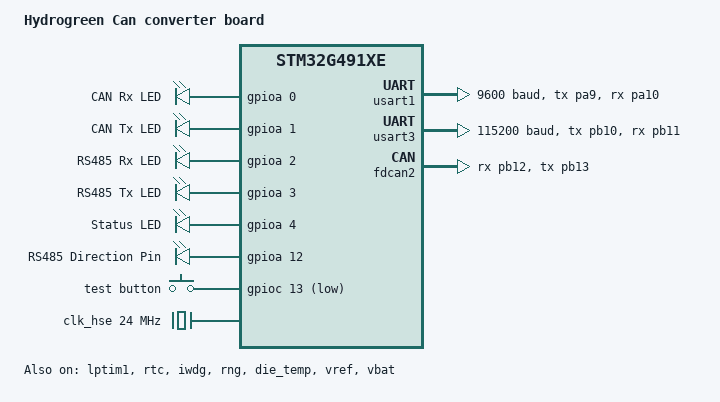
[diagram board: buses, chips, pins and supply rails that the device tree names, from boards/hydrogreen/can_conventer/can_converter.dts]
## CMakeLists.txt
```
cmake_minimum_required(VERSION 3.13.1)
if(NOT DEFINED BOARD)
    set(BOARD can_converter CACHE STRING "Zephyr target board")
    message(STATUS "BOARD not defined externally, using default: ${BOARD}")
endif()

if(NOT DEFINED BOARD_ROOT)
    set(BOARD_ROOT ${CMAKE_CURRENT_SOURCE_DIR}/ CACHE PATH "Root directory for custom boards")
    message(STATUS "BOARD_ROOT not defined externally, using default: ${BOARD_ROOT}")
endif()

find_package(Zephyr REQUIRED HINTS $ENV{ZEPHYR_BASE})
project(app LANGUAGES C)

list(APPEND CMAKE_MODULE_PATH ${ZEPHYR_BASE}/modules/nanopb)
include(nanopb)
zephyr_nanopb_sources(app proto/master.proto)

target_include_directories(app PRIVATE
        peripherals
        can-definitions
        src
)

if(CONFIG_BOOTLOADER_MCUBOOT)
    set(SIGNED_BIN  ${CMAKE_BINARY_DIR}/zephyr/zephyr.signed.bin)
    set(ELF_FILE    ${CMAKE_BINARY_DIR}/zephyr/zephyr.elf)
    set(HEADER_BIN  ${CMAKE_BINARY_DIR}/zephyr/mcuboot_header.bin)

    add_custom_target(patch_elf_mcuboot_header ALL
        COMMAND ${PYTHON_EXECUTABLE} -c
            "h=open('${SIGNED_BIN}','rb').read(${CONFIG_ROM_START_OFFSET}); open('${HEADER_BIN}','wb').write(h)"
        COMMAND ${PYTHON_EXECUTABLE}
            ${CMAKE_CURRENT_SOURCE_DIR}/tools/patch_elf_mcuboot_header.py
            ${ELF_FILE} ${HEADER_BIN} ${CONFIG_ROM_START_OFFSET}
        COMMENT "Patching MCUboot image header into zephyr.elf for GDB"
        VERBATIM
    )
    add_dependencies(patch_elf_mcuboot_header zephyr_final)
endif()

target_sources(app PRIVATE
        src/main.c
        src/can_converter.c
        src/can_converter_can.c
        src/can_converter_frames.c
        src/can_converter_rs485.c
        src/can_converter_dfu.c
        peripherals/cobs.c
        peripherals/can.c
        peripherals/can_dfu.c
        peripherals/gpio.c
        peripherals/adc.c
        peripherals/pwm.c
        peripherals/counter.c
        peripherals/uart.c
        peripherals/rs485.c
        peripherals/status_led.c
        peripherals/test_button.c
        can-definitions/candef.c
)
```

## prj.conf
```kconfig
# Project specific config
CONFIG_GPIO=y
CONFIG_LED=y

CONFIG_CAN=y
CONFIG_CAN_FD_MODE=n
CONFIG_CAN_MANUAL_RECOVERY_MODE=y

CONFIG_UART_STM32=y
CONFIG_UART_ASYNC_API=y
CONFIG_UART_INTERRUPT_DRIVEN=y
CONFIG_DMA=y

CONFIG_NANOPB=y

# System settings
CONFIG_HEAP_MEM_POOL_SIZE=2048
CONFIG_MAIN_STACK_SIZE=2048

# MCUboot + DFU over CAN
CONFIG_BOOTLOADER_MCUBOOT=y
CONFIG_MCUBOOT_IMG_MANAGER=y
CONFIG_MCUBOOT_GENERATE_UNSIGNED_IMAGE=y
CONFIG_FLASH=y
CONFIG_FLASH_MAP=y
CONFIG_FLASH_PAGE_LAYOUT=y
CONFIG_STREAM_FLASH=y
CONFIG_STREAM_FLASH_ERASE=n
CONFIG_STREAM_FLASH_INSPECT=n
CONFIG_IMG_MANAGER=y
CONFIG_REBOOT=y
CONFIG_CRC=y

# Debugging, tracing and logging settings
CONFIG_SERIAL=y
CONFIG_LOG=y
CONFIG_LOG_MODE_IMMEDIATE=y
CONFIG_LOG_DEFAULT_LEVEL=3
CONFIG_LOG_BACKEND_RTT=y
CONFIG_USE_SEGGER_RTT=y
CONFIG_SEGGER_RTT_BUFFER_SIZE_UP=16384
CONFIG_LOG_BACKEND_RTT_MODE_DROP=y

# CONFIG_TRACING=y
# CONFIG_TRACING_BACKEND_RAM=y
# CONFIG_TRACING_GPIO=n
# CONFIG_TRACING_SYSCALL=y
CONFIG_SEGGER_SYSTEMVIEW=n
CONFIG_SEGGER_SYSTEMVIEW_BOOT_ENABLE=n
CONFIG_SEGGER_SYSVIEW_POST_MORTEM_MODE=n

CONFIG_DEBUG=y
CONFIG_DEBUG_OPTIMIZATIONS=y
CONFIG_THREAD_ANALYZER=y
CONFIG_THREAD_NAME=y
```

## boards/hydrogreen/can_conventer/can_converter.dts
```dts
/dts-v1/;
#include <st/g4/stm32g491Xe.dtsi>
#include <st/g4/stm32g491c(c-e)tx-pinctrl.dtsi>

#include <zephyr/dt-bindings/led/led.h>

/ {
	model = "Hydrogreen Can converter board";
	compatible = "hydrogreen,can-converter";


	aliases {
		can-rx-led = &can_rx_led;
		can-tx-led = &can_tx_led;
		rs485-rx-led = &rs485_rx_led;
		rs485-tx-led =&rs485_tx_led;
		status-led = &status_led;
		can = &fdcan2;
		rs485 = &usart1;
		rs485-dir = &rs485_dir_pin;
		button-test = &button_test;
		watchdog0 = &iwdg;
		die-temp0 = &die_temp;
		volt-sensor0 = &vref;
		volt-sensor1 = &vbat;
	};

	chosen {
		zephyr,console = &usart3;
		zephyr,shell-uart = &usart3;
		zephyr,sram = &sram0;
		zephyr,flash = &flash0;
		zephyr,canbus = &fdcan2;
		zephyr,code-partition = &slot0_partition;
	};

	leds {
		compatible = "gpio-leds";
		can_rx_led: led_pa0 {
			gpios = <&gpioa 0 GPIO_ACTIVE_HIGH>;
			label = "CAN Rx LED";
		};
		can_tx_led: led_pa1 {
			gpios = <&gpioa 1 GPIO_ACTIVE_HIGH>;
			label = "CAN Tx LED";
		};
		rs485_rx_led: led_pa2 {
			gpios = <&gpioa 2 GPIO_ACTIVE_HIGH>;
			label = "RS485 Rx LED";
		};
		rs485_tx_led: led_pa3 {
			gpios = <&gpioa 3 GPIO_ACTIVE_HIGH>;
			label = "RS485 Tx LED";
		};
		status_led: led_pa4 {
			gpios = <&gpioa 4 GPIO_ACTIVE_HIGH>;
			label = "Status LED";
		};
			rs485_dir_pin: dir_pin_pa12 {
			gpios = <&gpioa 12 GPIO_ACTIVE_HIGH>;
			label = "RS485 Direction Pin";
		};
	};

	buttons {
		compatible = "gpio-keys";
		debounce-interval-ms = <0>;
		button_test: button_pc13 {
			gpios = <&gpioc 13 (GPIO_ACTIVE_LOW | GPIO_PULL_UP)>;
			label = "test button";
		};
	};
};

&gpioa {
	status = "okay";
};

&gpiob {
	status = "okay";
};


&clk_lsi {
	status = "okay";
};

&clk_hsi48 {
	status = "okay";
};

&clk_hse {
	clock-frequency = <DT_FREQ_M(24)>;
	status = "okay";
};

&clk_hsi {
	status = "okay";
};

&pll {
	div-m = <6>;
	mul-n = <85>;
	div-p = <7>;
	div-q = <2>;
	div-r = <2>;
	clocks = <&clk_hse>;
	status = "okay";
};

&rcc {
	clocks = <&pll>;
	clock-frequency = <DT_FREQ_M(170)>;
	ahb-prescaler = <1>;
	apb1-prescaler = <1>;
	apb2-prescaler = <1>;
};


&usart1 {
	pinctrl-0 = <&usart1_tx_pa9 &usart1_rx_pa10>;
	pinctrl-names = "default";
	current-speed = <9600>;
	status = "okay";
};


&usart3 {
	pinctrl-0 = <&usart3_tx_pb10 &usart3_rx_pb11>;
	pinctrl-names = "default";
	current-speed = <115200>;
	status = "okay";
};



//&timers2 {
//	status = "okay";
//
//	pwm2: pwm {
//		status = "okay";
//		pinctrl-0 = <&tim2_ch1_pa5>;
//		pinctrl-names = "default";
//	};
//};
//
//&timers3 {
//	st,prescaler = <10000>;
//	status = "okay";
//	pwm3: pwm {
//		status = "okay";
//		pinctrl-0 = <&tim3_ch1_pb4>;
//		pinctrl-names = "default";
//	};
//};

stm32_lp_tick_source: &lptim1 {
	clocks = <&rcc STM32_CLOCK_BUS_APB1 0x80000000>,
			 <&rcc STM32_SRC_LSI LPTIM1_SEL(1)>;
	status = "okay";
};

&rtc {
	clocks = <&rcc STM32_CLOCK_BUS_APB1 0x00000400>,
			 <&rcc STM32_SRC_LSI RTC_SEL(2)>;
	status = "okay";
};

&flash0 {
	partitions {
		compatible = "fixed-partitions";
		#address-cells = <1>;
		#size-cells = <1>;

		boot_partition: partition@0 {
			label = "mcuboot";
			reg = <0x00000000 DT_SIZE_K(34)>;
		};
		slot0_partition: partition@8800 {
			label = "image-0";
			reg = <0x00008800 DT_SIZE_K(240)>;
		};
		slot1_partition: partition@44800 {
			label = "image-1";
			reg = <0x00044800 DT_SIZE_K(234)>;
		};
		/* Set 4Kb of storage at the end of the 512Kb of flash */
		storage_partition: partition@7f000 {
			label = "storage";
			reg = <0x0007f000 DT_SIZE_K(4)>;
		};
	};
};

&iwdg {
	status = "okay";
};

&rng {
	status = "okay";
};


&die_temp {
	status = "okay";
};

//&fdcan1 {
//	clocks = <&rcc STM32_CLOCK_BUS_APB1 0x02000000>,
//			 <&rcc STM32_SRC_HSE FDCAN_SEL(0)>;
//	pinctrl-0 = <&fdcan1_rx_pa11 &fdcan1_tx_pa12>;
//	pinctrl-names = "default";
//	status = "okay";
//};

&fdcan2 {
	pinctrl-0 = <&fdcan2_rx_pb12 &fdcan2_tx_pb13>;
	pinctrl-names = "default";
	status = "okay";
};

&vref {
	status = "okay";
};

&vbat {
	status = "okay";
};
```

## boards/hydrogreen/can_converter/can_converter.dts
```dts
/dts-v1/;
#include <st/g4/stm32g491Xe.dtsi>
#include <st/g4/stm32g491c(c-e)tx-pinctrl.dtsi>
#include <zephyr/dt-bindings/led/led.h>

// reference manual stm32g491cet6
// https://www.st.com/resource/en/reference_manual/dm00355726-stm32g4-series-advanced-armbased-32bit-mcus-stmicroelectronics.pdf

/ {
	model = "Hydrogreen CAN converter board";
	compatible = "hydrogreen,can-converter";


	aliases {
		can-rx-led = &can_rx_led;
		can-tx-led = &can_tx_led;
		rs485-rx-led = &rs485_rx_led;
		rs485-tx-led =&rs485_tx_led;
		status-led = &status_led;
		can = &fdcan2;
		rs485 = &usart1;
		rs485-dir = &rs485_dir_pin;
		button-test = &button_test;
		watchdog0 = &iwdg;
		die-temp0 = &die_temp;
		volt-sensor0 = &vref;
		volt-sensor1 = &vbat;
	};

	chosen {
		zephyr,sram = &sram0;
		zephyr,flash = &flash0;
		zephyr,canbus = &fdcan2;
		zephyr,code-partition = &slot0_partition;
	};

	leds {
		compatible = "gpio-leds";
		can_rx_led: led_pa0 {
			gpios = <&gpioa 0 GPIO_ACTIVE_HIGH>;
			label = "CAN Rx LED";
		};
		can_tx_led: led_pa1 {
			gpios = <&gpioa 1 GPIO_ACTIVE_HIGH>;
			label = "CAN Tx LED";
		};
		rs485_rx_led: led_pa2 {
			gpios = <&gpioa 2 GPIO_ACTIVE_HIGH>;
			label = "RS485 Rx LED";
		};
		rs485_tx_led: led_pa3 {
			gpios = <&gpioa 3 GPIO_ACTIVE_HIGH>;
			label = "RS485 Tx LED";
		};
		status_led: led_pa4 {
			gpios = <&gpioa 4 GPIO_ACTIVE_HIGH>;
			label = "Status LED";
		};
	};

	gpio_outputs {
		compatible = "gpio-leds";
		rs485_dir_pin: dir_pin_pa12 {
			gpios = <&gpioa 12 GPIO_ACTIVE_HIGH>;
			label = "RS485 Direction Pin";
		};
	};

	buttons {
		compatible = "gpio-keys";
		debounce-interval-ms = <0>;
		button_test: button_pc13 {
			gpios = <&gpioc 13 (GPIO_ACTIVE_LOW | GPIO_PULL_UP)>;
			label = "test button";
		};
	};
};

&gpioa {
	status = "okay";
};

&gpiob {
	status = "okay";
};


&clk_lsi {
	status = "okay";
};

&clk_hsi48 {
	status = "okay";
};

//&clk_hse {
//	clock-frequency = <DT_FREQ_M(24)>;
//	status = "okay";
//};

&clk_hsi {
//	clock-frequency = <DT_FREQ_M(16)>;
	status = "okay";
};

&pll {
	div-m = <1>;
	mul-n = <10>;
	div-p = <2>;
	div-q = <2>;
	div-r = <2>;
	clocks = <&clk_hsi>;
	status = "okay";
};

&rcc {
	clocks = <&pll>;
	clock-frequency = <DT_FREQ_M(80)>;
	ahb-prescaler = <1>;
	apb1-prescaler = <1>;
	apb2-prescaler = <1>;
};

// reference manual page 420 (dmamux)
&usart1 {
	pinctrl-0 = <&usart1_tx_pa9 &usart1_rx_pa10>;
	pinctrl-names = "default";
	current-speed = <921600>;
	status = "okay";
	dmas = <&dmamux1 2 25 STM32_DMA_PERIPH_TX>,
		   <&dmamux1 1 24 STM32_DMA_PERIPH_RX>;
	dma-names = "tx", "rx";
};

&dma1 {
	status = "okay";
};

&dmamux1 {
	status = "okay";
};



//&timers2 {
//	status = "okay";
//
//	pwm2: pwm {
//		status = "okay";
//		pinctrl-0 = <&tim2_ch1_pa5>;
//		pinctrl-names = "default";
//	};
//};
//
//&timers3 {
//	st,prescaler = <10000>;
//	status = "okay";
//	pwm3: pwm {
//		status = "okay";
//		pinctrl-0 = <&tim3_ch1_pb4>;
//		pinctrl-names = "default";
//	};
//};

stm32_lp_tick_source: &lptim1 {
	clocks = <&rcc STM32_CLOCK_BUS_APB1 0x80000000>,
			 <&rcc STM32_SRC_LSI LPTIM1_SEL(1)>;
	status = "okay";
};

&rtc {
	clocks = <&rcc STM32_CLOCK_BUS_APB1 0x00000400>,
			 <&rcc STM32_SRC_LSI RTC_SEL(2)>;
	status = "okay";
};

&flash0 {
	erase-block-size = <2048>;
	partitions {
		compatible = "fixed-partitions";
		#address-cells = <1>;
		#size-cells = <1>;

		boot_partition: partition@0 {
			label = "mcuboot";
			reg = <0x00000000 DT_SIZE_K(40)>;
		};
		slot0_partition: partition@a000 {
			label = "image-0";
			reg = <0x0000a000 DT_SIZE_K(234)>;
		};
		slot1_partition: partition@44800 {
			label = "image-1";
			reg = <0x00044800 DT_SIZE_K(234)>;
		};
		/* Set 4Kb of storage at the end of the 512Kb of flash */
		storage_partition: partition@7f000 {
			label = "storage";
			reg = <0x0007f000 DT_SIZE_K(4)>;
		};
	};
};

&iwdg {
	status = "okay";
};

&rng {
	status = "okay";
};


&die_temp {
	status = "okay";
};

//&fdcan1 {
//	clocks = <&rcc STM32_CLOCK_BUS_APB1 0x02000000>,
//			 <&rcc STM32_SRC_HSE FDCAN_SEL(0)>;
//	pinctrl-0 = <&fdcan1_rx_pa11 &fdcan1_tx_pa12>;
//	pinctrl-names = "default";
//	status = "okay";
//};

&fdcan2 {
	clocks = <&rcc STM32_CLOCK_BUS_APB1 0x02000000>,
			 <&rcc STM32_SRC_PLL_Q FDCAN_SEL(1)>;
	pinctrl-0 = <&fdcan2_rx_pb12 &fdcan2_tx_pb13>;
	pinctrl-names = "default";
	status = "okay";
};

&vref {
	status = "okay";
};

&vbat {
	status = "okay";
};
```

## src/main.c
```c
#include <zephyr/logging/log.h>
#include <zephyr/dfu/mcuboot.h>
#include "can_converter.h"
#include "can_converter_can.h"
#include "can_converter_rs485.h"
#include "status_led.h"

LOG_MODULE_REGISTER(main);

int main(void) {
    LOG_INF("CAN Converter Unit has started");

    ccu_can_init();
    ccu_rs485_init();
    ccu_board_init();

    /* Confirm the running image is healthy so MCUboot doesn't roll back
     * on the next reboot. No-op if not in swap-test mode. */
    boot_write_img_confirmed();

    status_led_set(STATUS_LED_OPERATIONAL);

    return 0;
}
```

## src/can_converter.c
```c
#include "can_converter.h"
#include "can_converter_can.h"
#include "can_converter_rs485.h"
#include "status_led.h"
#include "test_button.h"

#include <zephyr/drivers/gpio.h>
#include <zephyr/logging/log.h>

LOG_MODULE_REGISTER(ccu_board, LOG_LEVEL_INF);

K_MUTEX_DEFINE(data_mutex);
master_data_t data = {0};

/* ── Test button callback ─────────────────────────────────────────────────── */
static void on_test_button(void) {
    LOG_INF("Test button pressed — lighting all LEDs, sending all frames");
    status_led_set_override(true);
    ccu_can_test_set(true);
    ccu_rs485_test_set(true);
    ccu_can_test_send_all();
    k_sleep(K_SECONDS(2));
    ccu_can_test_set(false);
    ccu_rs485_test_set(false);
    status_led_set_override(false);
    LOG_INF("Test button: done");
}

/* ── Board init ───────────────────────────────────────────────────────────── */
void ccu_board_init(void) {
    static const struct gpio_dt_spec status_led_gpio =
        GPIO_DT_SPEC_GET(DT_ALIAS(status_led), gpios);
    static const struct gpio_dt_spec test_btn_gpio =
        GPIO_DT_SPEC_GET(DT_ALIAS(button_test), gpios);

    status_led_init(&status_led_gpio, NULL);
    test_button_init(&test_btn_gpio, on_test_button);
}
```

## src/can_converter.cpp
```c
//
// Created by inż. Dawid Pisarczyk on 28.12.2025.
//

#include "can_converter.hpp"

K_MUTEX_DEFINE(data_mutex);
master_data_t data = {};
```

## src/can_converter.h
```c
/**
 * @file can_converter.h
 * @brief Shared data store for the CAN↔RS485 converter.
 *
 * Holds the latest values decoded from the RS485 master stream.  All fields
 * are protected by @ref data_mutex; always lock before reading or writing.
 */

#pragma once

#ifdef __cplusplus
extern "C" {
#endif

#include <stdbool.h>

#include <zephyr/kernel.h>

#include "proto/master.pb.h"

/**
 * @brief Snapshot of the most recently received master data.
 *
 * Each payload type has a companion @c _valid flag that starts @c false and
 * is set to @c true the first time that payload is successfully decoded.
 */
typedef struct {
    MasterMeasurements master_measurements;
    bool               master_measurements_valid;

    MasterStatus master_status;
    bool         master_status_valid;

    ProtiumValues protium_values;
    bool          protium_values_valid;

    ProtiumOperatingState protium_operating_state;
    bool                  protium_operating_state_valid;

    MasterFaults master_faults;
    bool         master_faults_valid;
} master_data_t;

/** Global data store — lock @ref data_mutex before accessing. */
extern master_data_t data;

/** Mutex protecting @ref data. */
extern struct k_mutex data_mutex;

/* Board-specific initialisation: status LED, test button, CAN status broadcast.
 * Called from main() after all subsystems are up. */
void ccu_board_init(void);

#ifdef __cplusplus
}
#endif
```

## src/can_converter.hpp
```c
//
// Created by inż.Dawid Pisarczyk on 28.12.2025.
//

#ifndef CAN_CONVERTER_H
#define CAN_CONVERTER_H

#include <stdint.h>
#include <stdio.h>
#include <zephyr/device.h>
#include <zephyr/kernel.h>
#include "hmi_parser_zephyr.hpp"

typedef struct {
    MasterMeasurements master_measurements;
    bool master_measurements_valid;

    MasterStatus master_status;
    bool master_status_valid;

    ProtiumValues protium_values;
    bool protium_values_valid;

    ProtiumOperatingState protium_operating_state;
    bool protium_operating_state_valid;
} master_data_t;

extern master_data_t data;
extern struct k_mutex data_mutex;


#endif // CAN_CONVERTER_H
```

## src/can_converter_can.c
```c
#include "can_converter_can.h"
#include "can_converter_frames.h"
#include "can_converter_rs485.h"
#include "can_converter_dfu.h"
#include "status_led.h"
#include "candef.h"
#include "can_ids.h"

#include <zephyr/logging/log.h>

#include "can.h"
#include "gpio.h"

LOG_MODULE_REGISTER(ccu, LOG_LEVEL_INF);

#define CCU_CAN_TX_THREAD_STACK_SIZE       2048
#define CCU_CAN_TX_THREAD_PRIORITY         5
#define CCU_CAN_PERIODIC_THREAD_STACK_SIZE 2048
#define CCU_CAN_PERIODIC_THREAD_PRIORITY   5

K_THREAD_STACK_DEFINE(ccu_can_tx_thread_stack_area, CCU_CAN_TX_THREAD_STACK_SIZE);
K_THREAD_STACK_DEFINE(ccu_can_periodic_thread_stack_area, CCU_CAN_PERIODIC_THREAD_STACK_SIZE);

struct k_thread ccu_can_tx_thread_data;
struct k_thread ccu_can_periodic_thread_data;

K_SEM_DEFINE(can_tx_done_sem, 0, 1);
K_MSGQ_DEFINE(can_tx_msgq, sizeof(struct can_frame), 32, 4);

static volatile int      can_tx_result;
static volatile bool     test_active;
static volatile uint32_t can_frames_tx_ok;
static struct k_work_delayable tx_led_off_work;
static struct k_work_delayable rx_led_off_work;
static struct k_work_delayable bus_off_recovery_work;

struct can_filter ccu_can_filter = {
    .id = CANDEF_MCU_TIME_SYNC_FRAME_ID,
    .mask = 0x7C0,
    .flags = CAN_FRAME_IDE,
};

ccu_can_t can = {
    .device = DEVICE_DT_GET(DT_ALIAS(can)),
    .tx_led = GPIO_DT_SPEC_GET(DT_ALIAS(can_tx_led), gpios),
    .rx_led = GPIO_DT_SPEC_GET(DT_ALIAS(can_rx_led), gpios),
};

static void ccu_can_tx_callback(const struct device *dev, int error, void *user_data);

static void tx_led_off_handler(struct k_work *work) { if (!test_active) gpio_reset(&can.tx_led); }
static void rx_led_off_handler(struct k_work *work) { if (!test_active) gpio_reset(&can.rx_led); }

static void bus_off_recovery_handler(struct k_work *work) {
    int ret = can_recover(can.device, K_MSEC(100));
    if (ret != 0 && ret != -ENOTSUP) {
        LOG_WRN("CAN recovery failed (%d), retrying in 1s", ret);
        k_work_reschedule(&bus_off_recovery_work, K_SECONDS(1));
    } else {
        LOG_INF("CAN bus recovered");
        status_led_set(STATUS_LED_OPERATIONAL);
    }
}

static void can_state_change_cb(const struct device *dev,
                                enum can_state state,
                                struct can_bus_err_cnt err_cnt,
                                void *user_data) {
    ARG_UNUSED(dev);
    ARG_UNUSED(user_data);

    LOG_WRN("CAN state: %d (tx_err=%d rx_err=%d)",
            state, err_cnt.tx_err_cnt, err_cnt.rx_err_cnt);

    switch (state) {
    case CAN_STATE_ERROR_ACTIVE:
        status_led_set(STATUS_LED_OPERATIONAL);
        break;
    case CAN_STATE_ERROR_WARNING:
    case CAN_STATE_ERROR_PASSIVE:
        status_led_set(STATUS_LED_WARNING);
        break;
    case CAN_STATE_BUS_OFF:
        status_led_set(STATUS_LED_BUS_OFF);
        k_msgq_purge(&can_tx_msgq);
        k_work_reschedule(&bus_off_recovery_work, K_MSEC(100));
        break;
    default:
        break;
    }
}

static void ccu_can_tx_thread(void *p1, void *p2, void *p3) {
    struct can_frame frame = {0};
    LOG_INF("CAN TX thread started");

    while (1) {
        k_msgq_get(&can_tx_msgq, &frame, K_FOREVER);

        int ret = can_send(can.device, &frame, K_MSEC(100), ccu_can_tx_callback, NULL);
        if (ret) {
            LOG_ERR("CAN send failed: %d", ret);
            continue;
        }

        if (k_sem_take(&can_tx_done_sem, K_MSEC(200)) != 0) {
            LOG_ERR("CAN TX timeout");
            continue;
        }

        if (can_tx_result != 0) {
            LOG_ERR("CAN TX error: %d", can_tx_result);
            continue;
        }

        can_frames_tx_ok++;
        gpio_set(&can.tx_led);
        k_work_reschedule(&tx_led_off_work, K_MSEC(50));
    }
}

static void ccu_can_periodic_thread(void *p1, void *p2, void *p3) {
    uint8_t cnt_100ms    = 0;
    uint8_t cnt_1000ms   = 0;
    uint8_t cnt_1s       = 0;
    uint8_t cnt_unassign = 0;  /* 0.1 Hz: send MCU_ANALOG_UNASSIGNED every 10 s */

    uint32_t           prev_rs485_rx  = 0;
    uint32_t           prev_can_tx_ok = 0;
    ccu_frame_counts_t prev_frames    = {0};

    while (1) {
        k_sleep(K_MSEC(10));

        /* Suspend all periodic TX during DFU — reduces bus contention so the
         * device only participates as a receiver + ACK node. */
        if (can_dfu_is_active()) {
            cnt_100ms  = 0;
            cnt_1000ms = 0;
            continue;
        }

        master_data_t d = {0};
        k_mutex_lock(&data_mutex, K_FOREVER);
        d = data;
        k_mutex_unlock(&data_mutex);

        /* 10 ms — 100 Hz: state machine + faults (high-priority, safety-relevant) */
        if (d.master_status_valid) {
            send_mcu_state(&d.master_status);
        }

        if (d.master_faults_valid) {
            send_mcu_faults(&d.master_faults);
        }

        cnt_100ms++;
        cnt_1000ms++;

        /* 100 ms — 10 Hz: speed + powertrain analog */
        if (cnt_100ms >= 10) {
            cnt_100ms = 0;

            if (d.master_measurements_valid) {
                send_mcu_analog_speed(&d.master_measurements);
                send_mcu_analog_powertrain(&d.master_measurements);
                send_mcu_analog_fuel_cell(&d.master_measurements);
                send_mcu_analog_accessory(&d.master_measurements);
            }
        }

        /* 1000 ms — 1 Hz: slow analog + digital inputs + Protium */
        if (cnt_1000ms >= 100) {
            cnt_1000ms = 0;

            if (d.master_measurements_valid) {
                send_mcu_analog_pedals(&d.master_measurements);
                send_mcu_inputs(&d.master_measurements);
            }

            if (d.protium_operating_state_valid) {
                send_protium_state(d.protium_operating_state);
            }

            if (d.protium_values_valid) {
                send_protium_power(&d.protium_values);
                send_protium_thermal(&d.protium_values);
                send_protium_hydrogen(&d.protium_values);
                send_protium_setpoints(&d.protium_values);
                send_protium_stasis(&d.protium_values);
                send_protium_misc(&d.protium_values);
            }
        }

        /* 1 s — diagnostic stats report */
        cnt_1s++;
        if (cnt_1s >= 100) {
            cnt_1s = 0;

            /* 0.1 Hz — unassigned analog inputs (every 10th 1 s tick) */
            cnt_unassign++;
            if (cnt_unassign >= 10) {
                cnt_unassign = 0;
                if (d.master_measurements_valid) {
                    send_mcu_analog_unassigned(&d.master_measurements);
                }
            }

            uint32_t cur_rs485  = rs485_frames_received;
            uint32_t cur_can_ok = can_frames_tx_ok;

            uint32_t d_rs485  = cur_rs485  - prev_rs485_rx;
            uint32_t d_can_ok = cur_can_ok - prev_can_tx_ok;

/* Frames enqueued in the last 1 s window == Hz directly. */
#define HZ(field) (frame_counts.field - prev_frames.field)

            LOG_INF("=== 1s stats: RS485 RX %u Hz | CAN TX ok %u ===",
                    d_rs485, d_can_ok);

            if (d.master_status_valid) {
                LOG_INF("  MCU state=%d move=%c mc=%c valve=%c",
                        (int)d.master_status.state,
                        d.master_status.vehicle_allowed_to_move  ? 'Y' : 'N',
                        d.master_status.motor_controller_enabled ? 'Y' : 'N',
                        d.master_status.main_valve_enabled       ? 'Y' : 'N');
            }

            if (d.master_faults_valid) {
                LOG_INF("  EMG: switch=%c dms=%c leak=%c"
                        " | ERR: fc_v=%c fc_c=%c sc_v=%c sc_c=%c"
                        " mc_v=%c mc_c=%c ab_v=%c ab_c=%c",
                        d.master_faults.emg_emergency_switch          ? 'Y' : 'N',
                        d.master_faults.emg_dead_mans_switch          ? 'Y' : 'N',
                        d.master_faults.emg_leakage_sensor_switch     ? 'Y' : 'N',
                        d.master_faults.err_fuel_cell_output_voltage  ? 'Y' : 'N',
                        d.master_faults.err_fuel_cell_output_current  ? 'Y' : 'N',
                        d.master_faults.err_supercapacitor_voltage    ? 'Y' : 'N',
                        d.master_faults.err_supercapacitor_current    ? 'Y' : 'N',
                        d.master_faults.err_motor_controller_supply_voltage  ? 'Y' : 'N',
                        d.master_faults.err_motor_controller_supply_current  ? 'Y' : 'N',
                        d.master_faults.err_accessory_battery_voltage ? 'Y' : 'N',
                        d.master_faults.err_accessory_battery_current ? 'Y' : 'N');
            }

            LOG_INF("  MCU Hz:"
                    " STATE=%u FAULTS=%u DRIVE=%u"
                    " PT=%u FC=%u ACC=%u PEDALS=%u INPUTS=%u",
                    HZ(mcu_state), HZ(mcu_faults), HZ(mcu_analog_speed),
                    HZ(mcu_analog_powertrain), HZ(mcu_analog_fuel_cell),
                    HZ(mcu_analog_accessory),
                    HZ(mcu_analog_pedals), HZ(mcu_inputs));
            LOG_INF("  PROT Hz:"
                    " STATE=%u POWER=%u THERMAL=%u"
                    " HYDROGEN=%u SETPOINTS=%u STASIS=%u MISC=%u",
                    HZ(protium_state), HZ(protium_power), HZ(protium_thermal),
                    HZ(protium_hydrogen), HZ(protium_setpoints),
                    HZ(protium_stasis), HZ(protium_misc));

#undef HZ

            prev_rs485_rx  = cur_rs485;
            prev_can_tx_ok = cur_can_ok;
            prev_frames    = frame_counts;
        }
    }
}

static void ccu_can_tx_callback(const struct device *dev, int error, void *user_data) {
    can_tx_result = error;
    k_sem_give(&can_tx_done_sem);
}

static void ccu_dfu_rx_cb(const struct device *dev, struct can_frame *frame, void *user_data) {
    ARG_UNUSED(dev);
    ARG_UNUSED(user_data);

    /* Log CMD frames (REQUEST/COMMIT) at INF — always visible.
     * Log DATA frames at DBG — enable ccu_can DBG level to see them.
     * Logging every DATA frame at INF would generate ~500 log/s during DFU
     * and overwhelm the RTT buffer even in DROP mode. */
    if (frame->id == CCU_DFU_CMD_ID) {
        LOG_INF("CAN RX CMD id=0x%03X dlc=%u data=%02X %02X %02X %02X %02X",
                frame->id, frame->dlc,
                frame->dlc > 0 ? frame->data[0] : 0,
                frame->dlc > 1 ? frame->data[1] : 0,
                frame->dlc > 2 ? frame->data[2] : 0,
                frame->dlc > 3 ? frame->data[3] : 0,
                frame->dlc > 4 ? frame->data[4] : 0);
    } else {
        LOG_DBG("CAN RX DATA id=0x%03X dlc=%u seq=%u",
                frame->id, frame->dlc,
                frame->dlc >= 2 ? (uint16_t)(frame->data[0] | (frame->data[1] << 8)) : 0);
    }

    /* Flash CAN RX LED */
    gpio_set(&can.rx_led);
    k_work_reschedule(&rx_led_off_work, K_MSEC(50));

    can_dfu_on_frame(frame);
}

/* Single filter matches both 0x7E0 (CMD) and 0x7E1 (DATA) — both land on FIFO0 */
static const struct can_filter dfu_filter = {
    .id    = CCU_DFU_CMD_ID,
    .mask  = 0x1FFFFFFEU,
    .flags = CAN_FRAME_IDE,
};

void ccu_can_test_set(bool active) {
    test_active = active;
    if (active) {
        gpio_set(&can.rx_led);
        gpio_set(&can.tx_led);
    } else {
        gpio_reset(&can.rx_led);
        gpio_reset(&can.tx_led);
    }
}

void ccu_can_test_send_all(void) {
    master_data_t d = {0};
    k_mutex_lock(&data_mutex, K_FOREVER);
    d = data;
    k_mutex_unlock(&data_mutex);

    send_mcu_analog_speed(&d.master_measurements);
    send_mcu_analog_pedals(&d.master_measurements);
    send_mcu_analog_powertrain(&d.master_measurements);
    send_mcu_analog_fuel_cell(&d.master_measurements);
    send_mcu_analog_accessory(&d.master_measurements);
    send_mcu_analog_unassigned(&d.master_measurements);
    send_mcu_inputs(&d.master_measurements);
    send_mcu_state(&d.master_status);
    send_mcu_faults(&d.master_faults);
    if (d.protium_operating_state_valid) {
        send_protium_state(d.protium_operating_state);
    }

    LOG_INF("CAN test: all frames enqueued");
}

void ccu_can_init(void) {
    can_init(can.device, HYDROGREEN_CAN_BAUD_RATE);
    gpio_init(&can.rx_led, GPIO_OUTPUT_INACTIVE);
    gpio_init(&can.tx_led, GPIO_OUTPUT_INACTIVE);
    k_work_init_delayable(&tx_led_off_work, tx_led_off_handler);
    k_work_init_delayable(&rx_led_off_work, rx_led_off_handler);
    k_work_init_delayable(&bus_off_recovery_work, bus_off_recovery_handler);
    can_set_state_change_callback(can.device, can_state_change_cb, NULL);

    can_add_rx_filter_(can.device, ccu_dfu_rx_cb, &dfu_filter);
    ccu_dfu_init();

    k_tid_t tx_tid = k_thread_create(
        &ccu_can_tx_thread_data, ccu_can_tx_thread_stack_area,
        K_THREAD_STACK_SIZEOF(ccu_can_tx_thread_stack_area),
        ccu_can_tx_thread, NULL, NULL, NULL,
        CCU_CAN_TX_THREAD_PRIORITY, 0, K_NO_WAIT);
    k_thread_name_set(tx_tid, "can_tx");

    k_tid_t periodic_tid = k_thread_create(
        &ccu_can_periodic_thread_data, ccu_can_periodic_thread_stack_area,
        K_THREAD_STACK_SIZEOF(ccu_can_periodic_thread_stack_area),
        ccu_can_periodic_thread, NULL, NULL, NULL,
        CCU_CAN_PERIODIC_THREAD_PRIORITY, 0, K_NO_WAIT);
    k_thread_name_set(periodic_tid, "can_periodic");
}
```

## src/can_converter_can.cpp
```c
#include "can_converter_can.hpp"
#include "can_converter_can_send.hpp"
#include "candef.h"

LOG_MODULE_REGISTER(ccu_can, LOG_LEVEL_INF);

#define CCU_CAN_TX_THREAD_STACK_SIZE       2048
#define CCU_CAN_TX_THREAD_PRIORITY         5
#define CCU_CAN_PERIODIC_THREAD_STACK_SIZE 2048
#define CCU_CAN_PERIODIC_THREAD_PRIORITY   5

K_THREAD_STACK_DEFINE(ccu_can_tx_thread_stack_area, CCU_CAN_TX_THREAD_STACK_SIZE);
K_THREAD_STACK_DEFINE(ccu_can_periodic_thread_stack_area, CCU_CAN_PERIODIC_THREAD_STACK_SIZE);

struct k_thread ccu_can_tx_thread_data;
struct k_thread ccu_can_periodic_thread_data;

K_SEM_DEFINE(can_tx_done_sem, 0, 1);
K_MSGQ_DEFINE(can_tx_msgq, sizeof(struct can_frame), 32, 4);

static volatile int can_tx_result;
static struct k_work_delayable tx_led_off_work;

struct can_filter ccu_can_filter = {
    .id = CANDEF_MCU_TIME_SYNC_FRAME_ID,
    .mask = 0x7C0,
    .flags = CAN_FRAME_IDE,
};

ccu_can_t can = {
    .device = DEVICE_DT_GET(DT_ALIAS(can)),
    .tx_led = GPIO_DT_SPEC_GET(DT_ALIAS(can_tx_led), gpios),
    .rx_led = GPIO_DT_SPEC_GET(DT_ALIAS(can_rx_led), gpios),
};

static void ccu_can_tx_callback(const struct device *dev, int error, void *user_data);

static void tx_led_off_handler(struct k_work *work) {
    gpio_reset(&can.tx_led);
}

static void ccu_can_tx_thread(void *p1, void *p2, void *p3) {
    struct can_frame frame = {0};
    LOG_INF("CAN TX thread started");

    while (1) {
        k_msgq_get(&can_tx_msgq, &frame, K_FOREVER);

        int ret = can_send(can.device, &frame, K_MSEC(100), ccu_can_tx_callback, NULL);
        if (ret) {
            LOG_ERR("CAN send failed: %d", ret);
            continue;
        }

        if (k_sem_take(&can_tx_done_sem, K_MSEC(200)) != 0) {
            LOG_ERR("CAN TX timeout");
            continue;
        }

        if (can_tx_result != 0) {
            LOG_ERR("CAN TX error: %d", can_tx_result);
            continue;
        }

        gpio_set(&can.tx_led);
        k_work_reschedule(&tx_led_off_work, K_MSEC(50));
    }
}

static void ccu_can_periodic_thread(void *p1, void *p2, void *p3) {
    uint8_t cnt_100ms = 0;
    uint8_t cnt_1000ms = 0;
    uint16_t fake_tick = 0;
    float fake_accel = 0.0f;

    while (1) {
        k_sleep(K_MSEC(10));

        master_data_t d = {};
        k_mutex_lock(&data_mutex, K_FOREVER);
        d = data;
        k_mutex_unlock(&data_mutex);

        if (d.master_measurements_valid) {
            send_mcu_analog_drive(&d.master_measurements);
        }

        cnt_100ms++;
        cnt_1000ms++;

        if (cnt_1000ms >= 100) {
            cnt_1000ms = 0;

            fake_accel = (float) (fake_tick % 100);
            fake_tick++;

            if (d.protium_operating_state_valid) {
                send_protium_state(d.protium_operating_state);
            }
        }

        if (cnt_100ms >= 10) {
            cnt_100ms = 0;

            d.master_measurements.fuelCellOutputVoltage = 21.0f;
            d.master_measurements.supercapacitorVoltage = 37.0f;
            d.master_measurements.accelPedalVoltage = fake_accel;

            send_mcu_analog_pedals(&d.master_measurements);
            send_mcu_analog_powertrain(&d.master_measurements);
            send_mcu_analog_fuel_cell(&d.master_measurements);
            send_mcu_analog_accessory(&d.master_measurements);
            send_mcu_inputs(&d.master_measurements);
            send_mcu_state(&d.master_status);
        }
    }
}

static void ccu_can_tx_callback(const struct device *dev, int error, void *user_data) {
    can_tx_result = error;
    k_sem_give(&can_tx_done_sem);
}

void ccu_can_init(void) {
    can_init(can.device, HYDROGREEN_CAN_BAUD_RATE);
    gpio_init(&can.rx_led, GPIO_OUTPUT_INACTIVE);
    gpio_init(&can.tx_led, GPIO_OUTPUT_INACTIVE);
    k_work_init_delayable(&tx_led_off_work, tx_led_off_handler);

    k_tid_t tx_tid = k_thread_create(
        &ccu_can_tx_thread_data, ccu_can_tx_thread_stack_area,
        K_THREAD_STACK_SIZEOF(ccu_can_tx_thread_stack_area),
        ccu_can_tx_thread, NULL, NULL, NULL,
        CCU_CAN_TX_THREAD_PRIORITY, 0, K_NO_WAIT);
    k_thread_name_set(tx_tid, "can_tx");

    k_tid_t periodic_tid = k_thread_create(
        &ccu_can_periodic_thread_data, ccu_can_periodic_thread_stack_area,
        K_THREAD_STACK_SIZEOF(ccu_can_periodic_thread_stack_area),
        ccu_can_periodic_thread, NULL, NULL, NULL,
        CCU_CAN_PERIODIC_THREAD_PRIORITY, 0, K_NO_WAIT);
    k_thread_name_set(periodic_tid, "can_periodic");
}
```

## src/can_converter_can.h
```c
/**
 * @file can_converter_can.h
 * @brief CAN transmit path for the CAN converter.
 *
 * Owns the CAN context, the TX queue, the TX thread, the periodic data
 * broadcast thread, and bus-off recovery logic.
 */

#pragma once

#ifdef __cplusplus
extern "C" {
#endif

#include <zephyr/device.h>
#include <zephyr/drivers/can.h>
#include <zephyr/drivers/gpio.h>
#include <zephyr/kernel.h>

#include "can_converter.h"

typedef struct {
    const struct device *device;
    struct gpio_dt_spec  tx_led;
    struct gpio_dt_spec  rx_led;
} ccu_can_t;

extern ccu_can_t        can;
extern struct can_filter ccu_can_filter;
extern struct k_msgq     can_tx_msgq;

/**
 * @brief Initialise the CAN subsystem and start TX and periodic threads.
 */
void ccu_can_init(void);
void ccu_can_test_set(bool active);
void ccu_can_test_send_all(void);

#ifdef __cplusplus
}
#endif
```

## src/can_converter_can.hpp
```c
#ifndef CAN_CONVERTER_CAN_H
#define CAN_CONVERTER_CAN_H

#include <stdint.h>
#include <stdio.h>
#include <zephyr/device.h>
#include <zephyr/kernel.h>
#include <zephyr/logging/log.h>
#include <zephyr/drivers/can.h>
#include "can.h"
#include "gpio.h"
#include "rs485.h"
#include "can_converter.hpp"

#define CAN_FILTER(_id) { .id = (_id), .mask = CAN_STD_ID_MASK, .flags = 0U }

typedef struct {
    const struct device *device;
    struct gpio_dt_spec tx_led;
    struct gpio_dt_spec rx_led;
} ccu_can_t;

extern ccu_can_t can;
extern struct can_filter ccu_can_filter;
extern struct k_msgq can_tx_msgq;

void ccu_can_init();

#endif //CAN_CONVERTER_CAN_H
```

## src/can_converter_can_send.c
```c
#include "can_converter_can_send.h"
#include "can_converter_can.h"
#include "candef.h"
#include "status_led.h"

LOG_MODULE_DECLARE(ccu_can, LOG_LEVEL_INF);

static void enqueue_frame(uint32_t id, const uint8_t *data, uint8_t len) {
    struct can_frame frame = {};

    if (len > sizeof(frame.data)) {
        LOG_WRN("CAN payload too big: %u", len);
        return;
    }

    frame.id = id;
    frame.dlc = len;
    frame.flags = CAN_FRAME_IDE;
    memcpy(frame.data, data, len);

    if (k_msgq_put(&can_tx_msgq, &frame, K_NO_WAIT) != 0) {
        LOG_WRN("CAN TX queue full");
    }
}

#define PACK_AND_ENQUEUE(UPPER_NAME, lower_name, struct_ptr)               \
    do {                                                                   \
        uint8_t _buf[CANDEF_##UPPER_NAME##_LENGTH];                        \
        candef_##lower_name##_pack(_buf, (struct_ptr), sizeof(_buf));      \
        enqueue_frame(CANDEF_##UPPER_NAME##_FRAME_ID, _buf, sizeof(_buf)); \
    } while (0)

void send_mcu_state(const MasterStatus *s) {
    uint8_t buf[CANDEF_MCU_STATE_LENGTH];
    struct candef_mcu_state_t frame = {
        .status = candef_mcu_state_status_encode(s->state),
    };
    candef_mcu_state_pack(buf, &frame, sizeof(buf));

    /* Pack CCU node status (CiA 303-3) into MCU_STATE bits 9-11
     * (unused in the current DBC, pending signal addition). */
    buf[1] |= ((uint8_t)status_led_get() & 0x07) << 1;

    enqueue_frame(CANDEF_MCU_STATE_FRAME_ID, buf, sizeof(buf));
}

void send_mcu_inputs(const MasterMeasurements *m) {
    struct candef_mcu_inputs_t frame = {
        .gas_pedal = (uint8_t) ((m->din >> 0) & 1u),
    };
    PACK_AND_ENQUEUE(MCU_INPUTS, mcu_inputs, &frame);
}

void send_mcu_analog_drive(const MasterMeasurements *m) {
    struct candef_mcu_analog_drive_t frame = {
        .rpm = candef_mcu_analog_drive_rpm_encode(m->rpm),
        .speed = candef_mcu_analog_drive_speed_encode(m->speed),
    };
    PACK_AND_ENQUEUE(MCU_ANALOG_DRIVE, mcu_analog_drive, &frame);
}

void send_mcu_analog_pedals(const MasterMeasurements *m) {
    struct candef_mcu_analog_pedals_t frame = {
        .acceleration_pedal_voltage = candef_mcu_analog_pedals_acceleration_pedal_voltage_encode(m->accel_pedal_voltage),
        .brake_pedal_voltage = candef_mcu_analog_pedals_brake_pedal_voltage_encode(m->brake_pedal_voltage),
    };
    PACK_AND_ENQUEUE(MCU_ANALOG_PEDALS, mcu_analog_pedals, &frame);
}

void send_mcu_analog_powertrain(const MasterMeasurements *m) {
    struct candef_mcu_analog_powertrain_t frame = {
        .supercapacitor_voltage = candef_mcu_analog_powertrain_supercapacitor_voltage_encode(m->supercapacitor_voltage),
        .supercapacitor_current = candef_mcu_analog_powertrain_supercapacitor_current_encode(m->supercapacitor_current),
        .motor_controller_supply_current = candef_mcu_analog_powertrain_motor_controller_supply_current_encode(
            m->motor_controller_supply_current),
        .motor_controller_supply_voltage = candef_mcu_analog_powertrain_motor_controller_supply_voltage_encode(
            m->motor_controller_supply_voltage),
    };
    PACK_AND_ENQUEUE(MCU_ANALOG_POWERTRAIN, mcu_analog_powertrain, &frame);
}

void send_mcu_analog_fuel_cell(const MasterMeasurements *m) {
    struct candef_mcu_analog_fuel_cell_t frame = {
        .fuel_cell_output_current = candef_mcu_analog_fuel_cell_fuel_cell_output_current_encode(
            m->fuel_cell_output_current),
        .fuel_cell_output_voltage = candef_mcu_analog_fuel_cell_fuel_cell_output_voltage_encode(
            m->fuel_cell_output_voltage),
        .hydrogen_high_pressure = candef_mcu_analog_fuel_cell_hydrogen_high_pressure_encode(m->hydrogen_high_pressure),
        .hydrogen_leakage_sensor_voltage = candef_mcu_analog_fuel_cell_hydrogen_leakage_sensor_voltage_encode(
            m->hydrogen_leakage_sensor_voltage),
    };
    PACK_AND_ENQUEUE(MCU_ANALOG_FUEL_CELL, mcu_analog_fuel_cell, &frame);
}

void send_mcu_analog_accessory(const MasterMeasurements *m) {
    struct candef_mcu_analog_accessory_t frame = {
        .accessory_battery_current = candef_mcu_analog_accessory_accessory_battery_current_encode(
            m->accessory_battery_current),
        .accessory_battery_voltage = candef_mcu_analog_accessory_accessory_battery_voltage_encode(
            m->accessory_battery_voltage),
    };
    PACK_AND_ENQUEUE(MCU_ANALOG_ACCESSORY, mcu_analog_accessory, &frame);
}

void send_mcu_faults(void) {
    struct candef_mcu_faults_t frame = {0};
    PACK_AND_ENQUEUE(MCU_FAULTS, mcu_faults, &frame);
}

void send_protium_state(ProtiumOperatingState operating_state) {
    struct candef_protium_state_t frame = {
        .operating_state = candef_protium_state_operating_state_encode(operating_state),
    };
    PACK_AND_ENQUEUE(PROTIUM_STATE, protium_state, &frame);
}
```

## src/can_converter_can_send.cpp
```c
#include "can_converter_can_send.hpp"
#include "can_converter_can.hpp"
#include "candef.h"

LOG_MODULE_DECLARE(ccu_can, LOG_LEVEL_INF);

static void enqueue_frame(uint32_t id, const uint8_t *data, uint8_t len) {
    struct can_frame frame = {};

    if (len > sizeof(frame.data)) {
        LOG_WRN("CAN payload too big: %u", len);
        return;
    }

    frame.id = id;
    frame.dlc = len;
    frame.flags = CAN_FRAME_IDE;
    memcpy(frame.data, data, len);

    if (k_msgq_put(&can_tx_msgq, &frame, K_NO_WAIT) != 0) {
        LOG_WRN("CAN TX queue full");
    }
}

#define PACK_AND_ENQUEUE(UPPER_NAME, lower_name, struct_ptr)               \
    do {                                                                   \
        uint8_t _buf[CANDEF_##UPPER_NAME##_LENGTH];                        \
        candef_##lower_name##_pack(_buf, (struct_ptr), sizeof(_buf));      \
        enqueue_frame(CANDEF_##UPPER_NAME##_FRAME_ID, _buf, sizeof(_buf)); \
    } while (0)

void send_mcu_state(const MasterStatus *s) {
    struct candef_mcu_state_t frame = {
        .status = candef_mcu_state_status_encode(s->state),
    };
    PACK_AND_ENQUEUE(MCU_STATE, mcu_state, &frame);
}

void send_mcu_inputs(const MasterMeasurements *m) {
    struct candef_mcu_inputs_t frame = {
        .gas_pedal = (uint8_t) ((m->din >> 0) & 1u),
    };
    PACK_AND_ENQUEUE(MCU_INPUTS, mcu_inputs, &frame);
}

void send_mcu_analog_drive(const MasterMeasurements *m) {
    struct candef_mcu_analog_drive_t frame = {
        .rpm = candef_mcu_analog_drive_rpm_encode(m->rpm),
        .speed = candef_mcu_analog_drive_speed_encode(m->speed),
    };
    PACK_AND_ENQUEUE(MCU_ANALOG_DRIVE, mcu_analog_drive, &frame);
}

void send_mcu_analog_pedals(const MasterMeasurements *m) {
    struct candef_mcu_analog_pedals_t frame = {
        .acceleration_pedal_voltage = candef_mcu_analog_pedals_acceleration_pedal_voltage_encode(m->accelPedalVoltage),
        .brake_pedal_voltage = candef_mcu_analog_pedals_brake_pedal_voltage_encode(m->brakePedalVoltage),
    };
    PACK_AND_ENQUEUE(MCU_ANALOG_PEDALS, mcu_analog_pedals, &frame);
}

void send_mcu_analog_powertrain(const MasterMeasurements *m) {
    struct candef_mcu_analog_powertrain_t frame = {
        .supercapacitor_voltage = candef_mcu_analog_powertrain_supercapacitor_voltage_encode(m->supercapacitorVoltage),
        .supercapacitor_current = candef_mcu_analog_powertrain_supercapacitor_current_encode(m->supercapacitorCurrent),
        .motor_controller_supply_current = candef_mcu_analog_powertrain_motor_controller_supply_current_encode(
            m->motorControllerSupplyCurrent),
        .motor_controller_supply_voltage = candef_mcu_analog_powertrain_motor_controller_supply_voltage_encode(
            m->motorControllerSupplyVoltage),
    };
    PACK_AND_ENQUEUE(MCU_ANALOG_POWERTRAIN, mcu_analog_powertrain, &frame);
}

void send_mcu_analog_fuel_cell(const MasterMeasurements *m) {
    struct candef_mcu_analog_fuel_cell_t frame = {
        .fuel_cell_output_current = candef_mcu_analog_fuel_cell_fuel_cell_output_current_encode(
            m->fuelCellOutputCurrent),
        .fuel_cell_output_voltage = candef_mcu_analog_fuel_cell_fuel_cell_output_voltage_encode(
            m->fuelCellOutputVoltage),
        .hydrogen_high_pressure = candef_mcu_analog_fuel_cell_hydrogen_high_pressure_encode(m->hydrogenHighPressure),
        .hydrogen_leakage_sensor_voltage = candef_mcu_analog_fuel_cell_hydrogen_leakage_sensor_voltage_encode(
            m->hydrogenLeakageSensorVoltage),
    };
    PACK_AND_ENQUEUE(MCU_ANALOG_FUEL_CELL, mcu_analog_fuel_cell, &frame);
}

void send_mcu_analog_accessory(const MasterMeasurements *m) {
    struct candef_mcu_analog_accessory_t frame = {
        .accessory_battery_current = candef_mcu_analog_accessory_accessory_battery_current_encode(
            m->accessoryBatteryCurrent),
        .accessory_battery_voltage = candef_mcu_analog_accessory_accessory_battery_voltage_encode(
            m->accessoryBatteryVoltage),
    };
    PACK_AND_ENQUEUE(MCU_ANALOG_ACCESSORY, mcu_analog_accessory, &frame);
}

void send_protium_state(ProtiumOperatingState operating_state) {
    struct candef_protium_state_t frame = {
        .operating_state = candef_protium_state_operating_state_encode(operating_state),
    };
    PACK_AND_ENQUEUE(PROTIUM_STATE, protium_state, &frame);
}
```

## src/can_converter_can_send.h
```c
#ifndef CAN_CONVERTER_CAN_SEND_H
#define CAN_CONVERTER_CAN_SEND_H

#include "can_converter.h"

void send_mcu_state(const MasterStatus *s);

void send_mcu_inputs(const MasterMeasurements *m);

void send_mcu_analog_drive(const MasterMeasurements *m);

void send_mcu_analog_pedals(const MasterMeasurements *m);

void send_mcu_analog_powertrain(const MasterMeasurements *m);

void send_mcu_analog_fuel_cell(const MasterMeasurements *m);

void send_mcu_analog_accessory(const MasterMeasurements *m);

void send_mcu_faults(void);

void send_protium_state(ProtiumOperatingState operating_state);

#endif // CAN_CONVERTER_CAN_SEND_H
```

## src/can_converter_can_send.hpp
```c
#ifndef CAN_CONVERTER_CAN_SEND_H
#define CAN_CONVERTER_CAN_SEND_H

#include "can_converter.hpp"

void send_mcu_state(const MasterStatus *s);

void send_mcu_inputs(const MasterMeasurements *m);

void send_mcu_analog_drive(const MasterMeasurements *m);

void send_mcu_analog_pedals(const MasterMeasurements *m);

void send_mcu_analog_powertrain(const MasterMeasurements *m);

void send_mcu_analog_fuel_cell(const MasterMeasurements *m);

void send_mcu_analog_accessory(const MasterMeasurements *m);

void send_protium_state(ProtiumOperatingState operating_state);

#endif // CAN_CONVERTER_CAN_SEND_H
```
